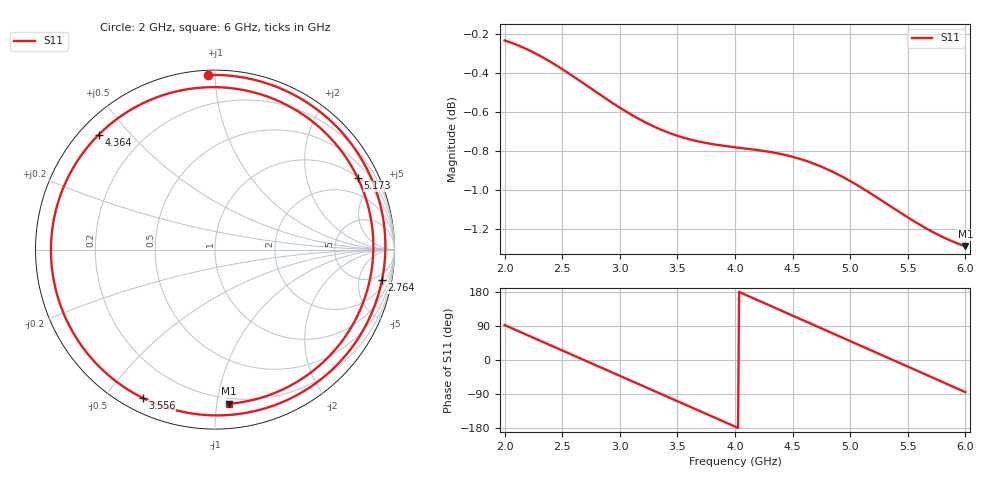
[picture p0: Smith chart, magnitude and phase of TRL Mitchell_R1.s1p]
! Touchstone file from project TRL Mitchell
! Exported from Circuit Design 2017.1.0
! Variables:
!  $thru = 40mm
!  thru = 40mm
!  width = 3.01746mm
!Data is not renormalized
# GHZ S MA
! Modal data exported
! Port[1] = n5
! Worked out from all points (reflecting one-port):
!   451 points, 2 GHz to 6 GHz, reference per port
!   lowest |S11| = -1.3 dB at 6 GHz (marker M1), VSWR 13.54
!   phase of S11 starts at 92 deg and turns -537 deg over the sweep
!   S11 on the Smith chart (normalised r, x): 2 GHz: 0.03, +0.96; 2.764 GHz: 3, -10; 3.556 GHz: 0.06, -0.62; 4.364 GHz: 0.05, +0.41; 5.173 GHz: 1.04, +3.98; 6 GHz: 0.16, -1.08
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2  0.9737 92.2
! Port Impedance50 0
2.115556  0.971 76.7
2.24  0.9672 60.0
2.382222  0.9621 41.0
2.506667  0.9571 24.3
2.64  0.9513 6.4
2.764444  0.9458 -10.2
3.004444  0.9357 -42.3
3.137778  0.9306 -60.2
3.262222  0.9265 -76.8
3.377778  0.9233 -92.3
3.502222  0.9204 -108.9
3.555556  0.9194 -116.1
3.786667  0.9161 -147.0
4  0.9143 -175.6
4.177778  0.9129 160.5
4.364444  0.911 135.4
4.506667  0.909 116.3
4.631111  0.9066 99.5
4.755556  0.9037 82.8
4.88  0.9001 66.0
5.004444  0.896 49.3
5.173333  0.8898 26.6
5.342222  0.8833 3.9
5.502222  0.8771 -17.7
5.626667  0.8726 -34.5
5.768889  0.8681 -53.7
6  0.8624 -84.9
